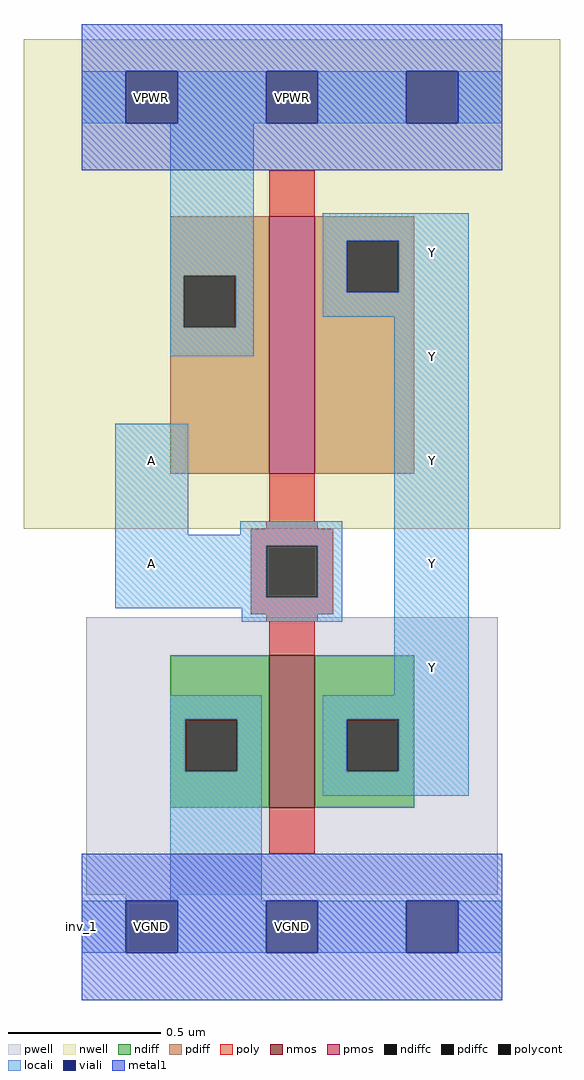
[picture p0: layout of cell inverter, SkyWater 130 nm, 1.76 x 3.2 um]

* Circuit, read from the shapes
.subckt inverter VGND VNB VPB VPWR Y A
XM1 Y A VGND VNB sky130_fd_pr__nfet_01v8 w=0.5 l=0.15
XM2 Y A VPWR VPB sky130_fd_pr__pfet_01v8 w=0.845 l=0.15
.ends

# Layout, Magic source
magic
tech sky130A
magscale 1 2
<< nwell >>
rect -38 261 314 582
<< pwell >>
rect 3 21 273 203
rect 29 -17 63 21
<< nmos >>
rect 123 78 153 178
<< pmos >>
rect 123 297 153 466
<< ndiff >>
rect 58 136 123 178
rect 58 102 68 136
rect 102 102 123 136
rect 58 78 123 102
rect 153 136 218 178
rect 153 102 174 136
rect 208 102 218 136
rect 153 78 218 102
<< pdiff >>
rect 58 427 123 466
rect 58 393 67 427
rect 101 393 123 427
rect 58 297 123 393
rect 153 450 218 466
rect 153 416 174 450
rect 208 416 218 450
rect 153 297 218 416
<< ndiffc >>
rect 68 102 102 136
rect 174 102 208 136
<< pdiffc >>
rect 67 393 101 427
rect 174 416 208 450
<< poly >>
rect 123 466 153 496
rect 123 266 153 297
rect 121 261 155 266
rect 111 250 165 261
rect 111 216 121 250
rect 155 216 165 250
rect 111 205 165 216
rect 121 200 155 205
rect 123 178 153 200
rect 123 48 153 78
<< polycont >>
rect 121 216 155 250
<< locali >>
rect 0 527 29 561
rect 63 527 121 561
rect 155 527 213 561
rect 247 527 276 561
rect 58 427 113 527
rect 58 393 67 427
rect 101 393 113 427
rect 158 450 254 468
rect 158 416 174 450
rect 208 416 254 450
rect 158 400 254 416
rect 58 374 113 393
rect 22 257 70 330
rect 104 257 171 266
rect 22 250 171 257
rect 22 216 121 250
rect 155 216 171 250
rect 22 209 171 216
rect 105 200 171 209
rect 205 152 254 400
rect 58 136 118 152
rect 58 102 68 136
rect 102 102 118 136
rect 58 17 118 102
rect 158 136 254 152
rect 158 102 174 136
rect 208 102 254 136
rect 158 86 254 102
rect 0 -17 29 17
rect 63 -17 121 17
rect 155 -17 213 17
rect 247 -17 276 17
<< viali >>
rect 29 527 63 561
rect 121 527 155 561
rect 213 527 247 561
rect 29 -17 63 17
rect 121 -17 155 17
rect 213 -17 247 17
<< metal1 >>
rect 0 561 276 592
rect 0 527 29 561
rect 63 527 121 561
rect 155 527 213 561
rect 247 527 276 561
rect 0 496 276 527
rect 0 17 276 48
rect 0 -17 29 17
rect 63 -17 121 17
rect 155 -17 213 17
rect 247 -17 276 17
rect 0 -48 276 -17
<< labels >>
flabel metal1 s 29 527 63 561 0 FreeSans 200 0 0 0 VPWR
port 5 nsew power bidirectional abutment
rlabel metal1 s 0 496 276 592 1 VPWR
port 5 nsew power bidirectional abutment
flabel metal1 s 29 -17 63 17 0 FreeSans 200 0 0 0 VGND
port 2 nsew ground bidirectional abutment
rlabel comment s 0 0 0 0 4 inv_1
rlabel metal1 s 0 -48 276 48 1 VGND
port 2 nsew ground bidirectional abutment
rlabel locali 213 221 247 255 1 Y
port 7 n signal output
rlabel locali 213 153 247 187 1 Y
port 7 n signal output
rlabel locali 29 221 63 255 1 A
port 8 n signal input
rlabel locali 29 289 63 323 1 A
port 8 n signal input
rlabel locali 213 289 247 323 1 Y
port 7 n signal output
rlabel locali 213 357 247 391 1 Y
port 7 n signal output
rlabel locali 213 425 247 459 1 Y
port 7 n signal output
flabel nwell s 29 527 63 561 0 FreeSans 200 0 0 0 VPB
port 4 nsew power bidirectional
flabel pwell s 29 -17 63 17 0 FreeSans 200 0 0 0 VNB
port 3 nsew ground bidirectional
<< properties >>
string FIXED_BBOX 0 0 276 544
<< end >>
